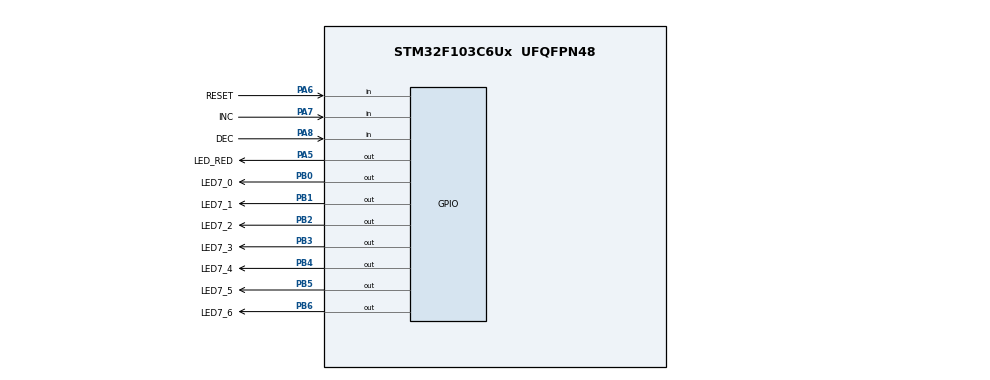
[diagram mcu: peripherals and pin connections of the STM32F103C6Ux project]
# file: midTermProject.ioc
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Mcu.Family=STM32F1
Mcu.Name=STM32F103C6Ux
Mcu.Package=UFQFPN48
NVIC.PriorityGroup=NVIC_PRIORITYGROUP_4
NVIC.TIM2_IRQn=true\:0\:0\:false\:false\:true\:true\:true
PA5.GPIO_Label=LED_RED
PA5.GPIO_PuPd=GPIO_NOPULL
PA5.Signal=GPIO_Output
PA6.GPIO_Label=RESET
PA6.GPIO_PuPd=GPIO_PULLUP
PA6.Signal=GPIO_Input
PA7.GPIO_Label=INC
PA7.GPIO_PuPd=GPIO_PULLUP
PA7.Signal=GPIO_Input
PA8.GPIO_Label=DEC
PA8.GPIO_PuPd=GPIO_PULLUP
PA8.Signal=GPIO_Input
PB0.GPIO_Label=LED7_0
PB0.Signal=GPIO_Output
PB1.GPIO_Label=LED7_1
PB1.Signal=GPIO_Output
PB2.GPIO_Label=LED7_2
PB2.Signal=GPIO_Output
PB3.GPIO_Label=LED7_3
PB3.Signal=GPIO_Output
PB4.GPIO_Label=LED7_4
PB4.Signal=GPIO_Output
PB5.GPIO_Label=LED7_5
PB5.Signal=GPIO_Output
PB6.GPIO_Label=LED7_6
PB6.Signal=GPIO_Output
ProjectManager.HeapSize=0x200
ProjectManager.StackSize=0x400
ProjectManager.TargetToolchain=STM32CubeIDE
RCC.APB1Freq_Value=8000000
RCC.APB2Freq_Value=8000000
TIM2.Period=9
TIM2.Prescaler=7999
VP_SYS_VS_ND.Mode=No_Debug
VP_TIM2_VS_ClockSourceINT.Mode=Internal
board=custom

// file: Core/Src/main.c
/* USER CODE BEGIN Header */
/**
  ******************************************************************************
  * @file           : main.c
  * @brief          : Main program body
  ******************************************************************************
  * @attention
  *
  * <h2><center>&copy; Copyright (c) 2022 STMicroelectronics.
  * All rights reserved.</center></h2>
  *
  * This software component is licensed by ST under BSD 3-Clause license,
  * the "License"; You may not use this file except in compliance with the
  * License. You may obtain a copy of the License at:
  *                        opensource.org/licenses/BSD-3-Clause
  *
  ******************************************************************************
  */
/* USER CODE END Header */
#include "main.h"

/* USER CODE BEGIN Includes */
#include "softwareTimer.h"
#include "button.h"
#include "global.h"
#include "fsm.h"
#include "display.h"
/* USER CODE END Includes */

TIM_HandleTypeDef htim2;

void SystemClock_Config(void);
static void MX_GPIO_Init(void);
static void MX_TIM2_Init(void);

int main(void)
{

  /* MCU Configuration--------------------------------------------------------*/

  /* Reset of all peripherals, Initializes the Flash interface and the Systick. */
  HAL_Init();

  /* Configure the system clock */
  SystemClock_Config();

  /* Initialize all configured peripherals */
  MX_GPIO_Init();
  MX_TIM2_Init();
  /* USER CODE BEGIN 2 */
HAL_TIM_Base_Start_IT(&htim2);
  /* USER CODE END 2 */

  /* Infinite loop */
  /* USER CODE BEGIN WHILE */

setTimer1ForLed(100);
setTimer2ForAutoCountDown(100);
setTimer3ForTimeOut(1000);
status = INIT;

  while (1)
  {
	  blinkyLedRed();
	  fsm_simple_buttons_run();

    /* USER CODE END WHILE */

  }
}

void SystemClock_Config(void)
{
  RCC_OscInitTypeDef RCC_OscInitStruct = {0};
  RCC_ClkInitTypeDef RCC_ClkInitStruct = {0};

  /** Initializes the RCC Oscillators according to the specified parameters
  * in the RCC_OscInitTypeDef structure.
  */
  RCC_OscInitStruct.OscillatorType = RCC_OSCILLATORTYPE_HSI;
  RCC_OscInitStruct.HSIState = RCC_HSI_ON;
  RCC_OscInitStruct.HSICalibrationValue = RCC_HSICALIBRATION_DEFAULT;
  RCC_OscInitStruct.PLL.PLLState = RCC_PLL_NONE;
  if (HAL_RCC_OscConfig(&RCC_OscInitStruct) != HAL_OK)
  {
    Error_Handler();
  }
  /** Initializes the CPU, AHB and APB buses clocks
  */
  RCC_ClkInitStruct.ClockType = RCC_CLOCKTYPE_HCLK|RCC_CLOCKTYPE_SYSCLK
                              |RCC_CLOCKTYPE_PCLK1|RCC_CLOCKTYPE_PCLK2;
  RCC_ClkInitStruct.SYSCLKSource = RCC_SYSCLKSOURCE_HSI;
  RCC_ClkInitStruct.AHBCLKDivider = RCC_SYSCLK_DIV1;
  RCC_ClkInitStruct.APB1CLKDivider = RCC_HCLK_DIV1;
  RCC_ClkInitStruct.APB2CLKDivider = RCC_HCLK_DIV1;

  if (HAL_RCC_ClockConfig(&RCC_ClkInitStruct, FLASH_LATENCY_0) != HAL_OK)
  {
    Error_Handler();
  }
}

static void MX_TIM2_Init(void)
{

  TIM_ClockConfigTypeDef sClockSourceConfig = {0};
  TIM_MasterConfigTypeDef sMasterConfig = {0};

  htim2.Instance = TIM2;
  htim2.Init.Prescaler = 7999;
  htim2.Init.CounterMode = TIM_COUNTERMODE_UP;
  htim2.Init.Period = 9;
  htim2.Init.ClockDivision = TIM_CLOCKDIVISION_DIV1;
  htim2.Init.AutoReloadPreload = TIM_AUTORELOAD_PRELOAD_DISABLE;
  if (HAL_TIM_Base_Init(&htim2) != HAL_OK)
  {
    Error_Handler();
  }
  sClockSourceConfig.ClockSource = TIM_CLOCKSOURCE_INTERNAL;
  if (HAL_TIM_ConfigClockSource(&htim2, &sClockSourceConfig) != HAL_OK)
  {
    Error_Handler();
  }
  sMasterConfig.MasterOutputTrigger = TIM_TRGO_RESET;
  sMasterConfig.MasterSlaveMode = TIM_MASTERSLAVEMODE_DISABLE;
  if (HAL_TIMEx_MasterConfigSynchronization(&htim2, &sMasterConfig) != HAL_OK)
  {
    Error_Handler();
  }

}

static void MX_GPIO_Init(void)
{
  GPIO_InitTypeDef GPIO_InitStruct = {0};

  /* GPIO Ports Clock Enable */
  __HAL_RCC_GPIOA_CLK_ENABLE();
  __HAL_RCC_GPIOB_CLK_ENABLE();

  /*Configure GPIO pin Output Level */
  HAL_GPIO_WritePin(LED_RED_GPIO_Port, LED_RED_Pin, GPIO_PIN_RESET);

  /*Configure GPIO pin Output Level */
  HAL_GPIO_WritePin(GPIOB, LED7_0_Pin|LED7_1_Pin|LED7_2_Pin|LED7_3_Pin
                          |LED7_4_Pin|LED7_5_Pin|LED7_6_Pin, GPIO_PIN_RESET);

  /*Configure GPIO pin : LED_RED_Pin */
  GPIO_InitStruct.Pin = LED_RED_Pin;
  GPIO_InitStruct.Mode = GPIO_MODE_OUTPUT_PP;
  GPIO_InitStruct.Pull = GPIO_NOPULL;
  GPIO_InitStruct.Speed = GPIO_SPEED_FREQ_LOW;
  HAL_GPIO_Init(LED_RED_GPIO_Port, &GPIO_InitStruct);

  /*Configure GPIO pins : RESET_Pin INC_Pin DEC_Pin */
  GPIO_InitStruct.Pin = RESET_Pin|INC_Pin|DEC_Pin;
  GPIO_InitStruct.Mode = GPIO_MODE_INPUT;
  GPIO_InitStruct.Pull = GPIO_PULLUP;
  HAL_GPIO_Init(GPIOA, &GPIO_InitStruct);

  /*Configure GPIO pins : LED7_0_Pin LED7_1_Pin LED7_2_Pin LED7_3_Pin
                           LED7_4_Pin LED7_5_Pin LED7_6_Pin */
  GPIO_InitStruct.Pin = LED7_0_Pin|LED7_1_Pin|LED7_2_Pin|LED7_3_Pin
                          |LED7_4_Pin|LED7_5_Pin|LED7_6_Pin;
  GPIO_InitStruct.Mode = GPIO_MODE_OUTPUT_PP;
  GPIO_InitStruct.Pull = GPIO_NOPULL;
  GPIO_InitStruct.Speed = GPIO_SPEED_FREQ_LOW;
  HAL_GPIO_Init(GPIOB, &GPIO_InitStruct);

}

/* USER CODE BEGIN 4 */
void HAL_TIM_PeriodElapsedCallback(TIM_HandleTypeDef *htim){
	getKeyInputReset();
	getKeyInputInc();
	getKeyInputDec();
	timerRun();
}
/* USER CODE END 4 */

void Error_Handler(void)
{
  __disable_irq();
  while (1)
  {
  }
}

/************************ (C) COPYRIGHT STMicroelectronics *****END OF FILE****/
